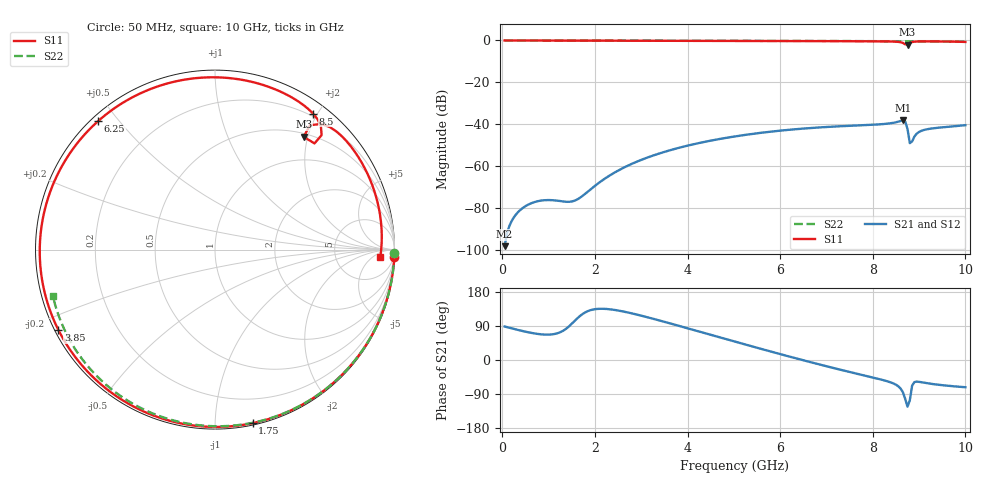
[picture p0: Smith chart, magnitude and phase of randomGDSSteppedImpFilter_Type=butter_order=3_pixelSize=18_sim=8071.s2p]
! freq	dB(S11)	phase(S11)	dB(S12)	phase(S12)
!  dB(S21)	phase(S21)	dB(S22)	phase(S22)
!S-par simulation data
#  GHz  S  DB  R 50
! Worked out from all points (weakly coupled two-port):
!   200 points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, 50 MHz to 10 GHz, reference 50 ohm
!   highest |S21| = -38.14 dB at 8.65 GHz (marker M1); lowest = -98.2 dB at 50 MHz (marker M2)
!   lowest |S11| = -1.9 dB at 8.75 GHz (marker M3), VSWR 8.97, Z = 27.7 + j96.5 ohm
!   |S11| at or under -10 dB: nowhere
!   |S22| runs from -0.5 to 0.0 dB; largest |S21 - S12| = 0
!   S11 on the Smith chart (normalised r, x): 50 MHz: 0, -48; 1.75 GHz: 0.01, -1.24; 3.85 GHz: 0.01, -0.24; 6.25 GHz: 0.02, +0.44; 8.5 GHz: 0.16, +1.94; 10 GHz: 18, -11
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0.05  -0.00 -2.4  -98.17 88.4  -98.17 88.4  -0.00 -1.0
0.45  -0.03 -21.0  -79.81 76.1  -79.81 76.1  -0.01 -8.6
0.95  -0.05 -43.7  -76.17 66.9  -76.17 66.9  -0.02 -18.0
1.45  -0.08 -65.4  -76.99 89.8  -76.99 89.8  -0.03 -27.3
1.75  -0.09 -77.8  -73.88 122.7  -73.88 122.7  -0.04 -32.8
2.5  -0.12 -106.7  -62.11 130.6  -62.11 130.6  -0.06 -46.4
3.4  -0.15 -138.1  -53.87 104.1  -53.87 104.1  -0.08 -62.2
3.85  -0.17 -152.8  -51.02 88.9  -51.02 88.9  -0.10 -69.9
5.05  -0.22 169.6  -45.70 47.6  -45.70 47.6  -0.14 -89.5
6.25  -0.28 132.3  -42.51 7.4  -42.51 7.4  -0.20 -108.2
6.7  -0.31 117.9  -41.72 -7.1  -41.72 -7.1  -0.22 -115.0
7.55  -0.36 89.5  -40.68 -33.1  -40.68 -33.1  -0.29 -127.7
8.35  -0.47 60.6  -39.62 -57.6  -39.62 -57.6  -0.36 -139.5
8.5  -0.59 54.2  -39.05 -65.2  -39.05 -65.2  -0.37 -141.7
8.65  -1.20 47.0  -38.14 -85.0  -38.14 -85.0  -0.38 -143.9
8.7  -1.82 46.9  -38.61 -102.5  -38.61 -102.5  -0.39 -144.6
8.75  -1.95 51.8  -42.24 -123.3  -42.24 -123.3  -0.40 -145.4
8.8  -1.19 52.6  -49.00 -106.5  -49.00 -106.5  -0.40 -146.1
8.95  -0.50 44.1  -44.46 -57.1  -44.46 -57.1  -0.42 -148.3
9.1  -0.44 37.2  -42.75 -59.7  -42.75 -59.7  -0.44 -150.5
9.55  -0.50 18.2  -41.35 -67.1  -41.35 -67.1  -0.49 -157.3
10  -0.71 -2.7  -40.43 -71.9  -40.43 -71.9  -0.54 -164.1
